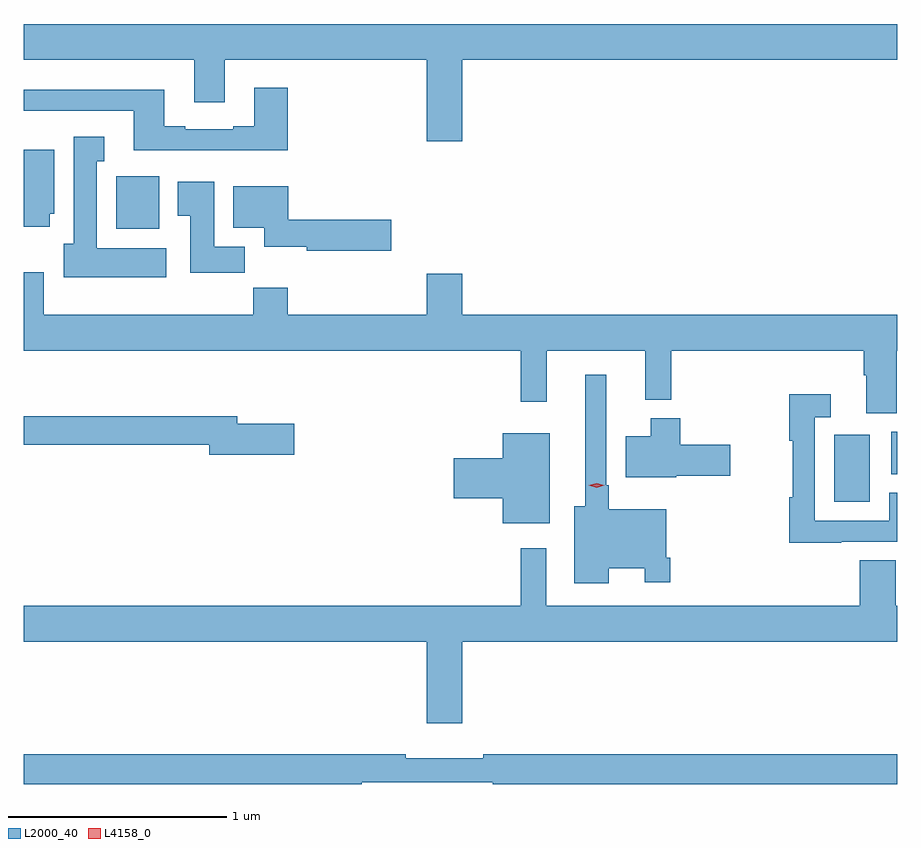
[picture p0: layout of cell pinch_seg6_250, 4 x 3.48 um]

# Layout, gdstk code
import gdstk
lib = gdstk.Library(unit=1e-6, precision=1e-09)
def R(c, l, rs):  # rectangles x0, y0, x1, y1
    for r in rs: c.add(gdstk.rectangle(r[:2], r[2:], *l))
def P(c, l, *ps):  # polygons
    for p in ps: c.add(gdstk.Polygon(p, *l))
L2000_40 = (2000, 40)
L4158_0 = (4158, 0)

pinch_seg6_250 = lib.new_cell('pinch_seg6_250')
R(pinch_seg6_250, L2000_40, [(1113.926,922.668,1114.09,922.975), (1114.188,922.795,1114.215,922.989), (1110.638,923.918,1110.835,924.16)])
P(pinch_seg6_250, L2000_40, [(1112.224,924.692),(1114.215,924.692),(1114.215,924.856),(1110.215,924.856),(1110.215,924.692),(1110.995,924.692),(1110.995,924.498),(1111.135,924.498),(1111.135,924.692),(1112.06,924.692),(1112.06,924.318),(1112.224,924.318)],
  [(1111.424,924.565),(1111.271,924.565),(1111.271,924.388),(1111.175,924.388),(1111.175,924.375),(1110.955,924.375),(1110.955,924.388),(1110.859,924.388),(1110.859,924.556),(1110.215,924.556),(1110.215,924.459),(1110.719,924.459),(1110.719,924.278),(1111.424,924.278)],
  [(1110.868,923.83),(1110.55,923.83),(1110.55,924.227),(1110.583,924.227),(1110.583,924.34),(1110.443,924.34),(1110.443,923.85),(1110.398,923.85),(1110.398,923.696),(1110.868,923.696)],
  [(1110.334,923.988),(1110.355,923.988),(1110.355,924.28),(1110.215,924.28),(1110.215,923.928),(1110.334,923.928)],
  [(1111.226,923.836),(1111.087,923.836),(1111.087,924.133),(1110.92,924.133),(1110.92,923.977),(1110.977,923.977),(1110.977,923.718),(1111.226,923.718)],
  [(1111.897,923.96),(1111.426,923.96),(1111.426,924.112),(1111.175,924.112),(1111.175,923.924),(1111.316,923.924),(1111.316,923.837),(1111.512,923.837),(1111.512,923.818),(1111.897,923.818)],
  [(1114.213,923.36),(1114.215,923.36),(1114.215,923.524),(1112.224,923.524),(1112.224,923.713),(1112.06,923.713),(1112.06,923.524),(1111.424,923.524),(1111.424,923.648),(1111.267,923.648),(1111.267,923.524),(1110.307,923.524),(1110.307,923.719),(1110.215,923.719),(1110.215,923.36),(1112.491,923.36),(1112.491,923.127),(1112.609,923.127),(1112.609,923.36),(1113.062,923.36),(1113.062,923.135),(1113.179,923.135),(1113.179,923.36),(1114.061,923.36),(1114.061,923.248),(1114.073,923.248),(1114.073,923.074),(1114.213,923.074)],
  [(1112.893,922.364),(1113.059,922.364),(1113.059,922.299),(1113.176,922.299),(1113.176,922.411),(1113.156,922.411),(1113.156,922.633),(1112.893,922.633),(1112.893,922.744),(1112.883,922.744),(1112.883,923.251),(1112.786,923.251),(1112.786,922.648),(1112.735,922.648),(1112.735,922.296),(1112.893,922.296)],
  [(1113.959,922.485),(1114.215,922.485),(1114.215,922.71),(1114.179,922.71),(1114.179,922.581),(1113.837,922.581),(1113.837,923.055),(1113.91,923.055),(1113.91,923.161),(1113.721,923.161),(1113.721,922.948),(1113.736,922.948),(1113.736,922.688),(1113.721,922.688),(1113.721,922.48),(1113.959,922.48)],
  [(1111.453,923.025),(1111.192,923.025),(1111.192,923.059),(1110.215,923.059),(1110.215,922.93),(1111.064,922.93),(1111.064,922.883),(1111.453,922.883)],
  [(1113.204,922.787),(1113.451,922.787),(1113.451,922.929),(1113.221,922.929),(1113.221,923.05),(1113.086,923.05),(1113.086,922.969),(1112.972,922.969),(1112.972,922.781),(1113.204,922.781)],
  [(1112.623,922.981),(1112.408,922.981),(1112.408,922.868),(1112.184,922.868),(1112.184,922.685),(1112.408,922.685),(1112.408,922.571),(1112.623,922.571)],
  [(1112.224,922.028),(1114.215,922.028),(1114.215,922.192),(1114.208,922.192),(1114.208,922.4),(1114.043,922.4),(1114.043,922.192),(1112.607,922.192),(1112.607,922.456),(1112.491,922.456),(1112.491,922.192),(1110.215,922.192),(1110.215,922.028),(1112.06,922.028),(1112.06,921.654),(1112.224,921.654)],
  [(1111.762,921.384),(1112.362,921.384),(1112.362,921.376),(1114.215,921.376),(1114.215,921.512),(1112.32,921.512),(1112.32,921.493),(1111.964,921.493),(1111.964,921.512),(1110.215,921.512),(1110.215,921.376),(1111.762,921.376)])
P(pinch_seg6_250, L4158_0, [(1112.838,922.733),(1112.802,922.743),(1112.802,922.743),(1112.802,922.743),(1112.838,922.753),(1112.874,922.743),(1112.874,922.743),(1112.874,922.743)])

lib.write_gds('pinch_seg6_250.gds')
